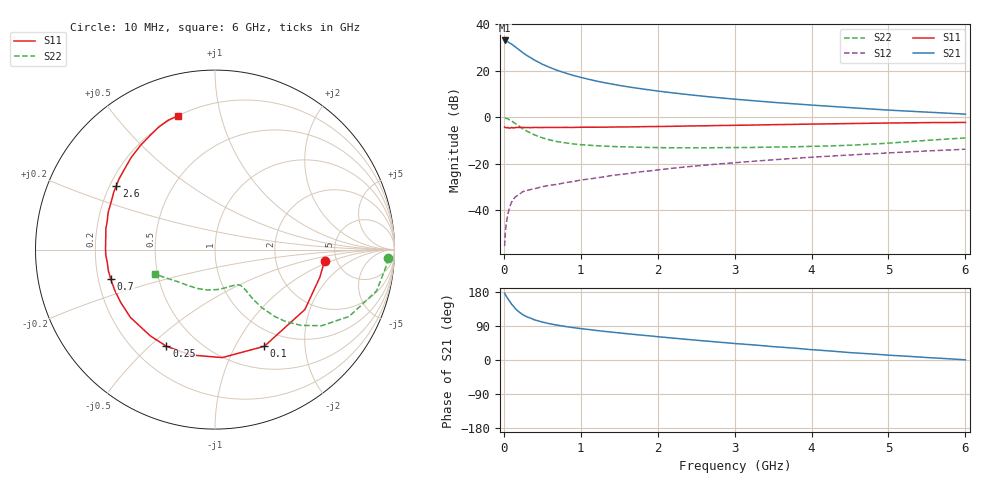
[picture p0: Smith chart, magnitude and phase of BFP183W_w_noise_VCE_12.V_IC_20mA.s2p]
! Infineon Technologies  Discrete & RF Semiconductors
! BFP183W
! VCE =  12. V,  IC =  20 mA
! Common Emitter S-Parameters:  Jan 2017
# GHz  S  MA  R  50
!  f  S11  S21  S12  S22
! GHz  MAG  ANG  MAG  ANG  MAG  ANG  MAG  ANG
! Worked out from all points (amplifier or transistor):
!   77 points, 10 MHz to 6 GHz, reference 50 ohm
!   highest |S21| = 33.0 dB at 10 MHz (marker M1)
!   |S21| within 3 dB of that: start of sweep to 158.8 MHz
!   unconditionally stable (mu >= 1): 1.242 GHz to 3.662 GHz
!   at 130 MHz: K = 0.24, MSG = 32.9 dB, |S12| = -35.0 dB
!   at 2.2 GHz: K = 1.06, MAG = 14.7 dB, |S12| = -21.9 dB
!   at 6 GHz: K = 0.86, MSG = 7.5 dB, |S12| = -13.7 dB
!   lowest NFmin = 1.17 dB at 450 MHz
!   S11 on the Smith chart (normalised r, x): 10 MHz: 4.01, -0.78; 100 MHz: 0.78, -1.32; 250 MHz: 0.33, -0.57; 700 MHz: 0.25, -0.13; 2.6 GHz: 0.23, +0.28; 6 GHz: 0.20, +0.74
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0.01  0.6135 -5.7  44.62 176.1  0.0017 59.3  0.9657 -2.8
0.02  0.6043 -14.7  43.71 172.1  0.0034 73.4  0.9573 -5.8
0.05  0.6018 -33.7  41.87 162.4  0.0079 73.2  0.9287 -14.4
0.1  0.6048 -63.0  37.44 147.4  0.015 64.7  0.8349 -26.5
0.15  0.603 -86.2  32.44 135.6  0.0195 55.7  0.7305 -35.5
0.2  0.603 -103.3  27.9 126.3  0.0221 50.4  0.6383 -41.4
0.25  0.6028 -116.7  24.2 119.2  0.0254 48.6  0.5616 -45.5
0.3  0.6008 -126.9  21.16 113.8  0.0268 45.1  0.5008 -48.2
0.4  0.6041 -141.3  16.82 105.8  0.0292 43.6  0.4165 -51.1
0.5  0.6022 -150.9  13.79 100.1  0.0322 45.0  0.3616 -52.2
0.6  0.6028 -158.3  11.7 95.5  0.0345 45.5  0.3245 -52.7
0.7  0.6039 -164.2  10.11 91.8  0.0363 47.3  0.2984 -52.8
0.9  0.6044 -173.3  7.936 85.5  0.0414 50.4  0.2678 -53.3
1.1  0.6098 179.9  6.548 80.5  0.0469 52.8  0.2515 -54.0
1.3  0.6123 173.9  5.553 75.7  0.0525 53.8  0.24 -55.4
1.5  0.6194 169.2  4.832 71.5  0.0586 55.0  0.2325 -57.5
2.1  0.6355 156.0  3.493 59.7  0.0771 56.9  0.2217 -67.6
2.6  0.6551 147.0  2.82 50.5  0.0929 56.1  0.2207 -79.0
3.1  0.6739 138.6  2.37 42.1  0.1087 54.6  0.2234 -91.1
4.1  0.7165 124.4  1.781 25.9  0.1415 50.3  0.2388 -116.6
5.1  0.7544 113.6  1.396 11.6  0.1747 44.9  0.2853 -142.8
6  0.7734 105.5  1.167 0.5  0.2055 39.1  0.3592 -157.7
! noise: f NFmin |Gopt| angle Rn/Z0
0.45  1.17  0.2  171  0.1
0.9  1.2  0.25  174  0.09
1.9  1.68  0.41  -163  0.08
2.4  1.92  0.45  -157  0.12
